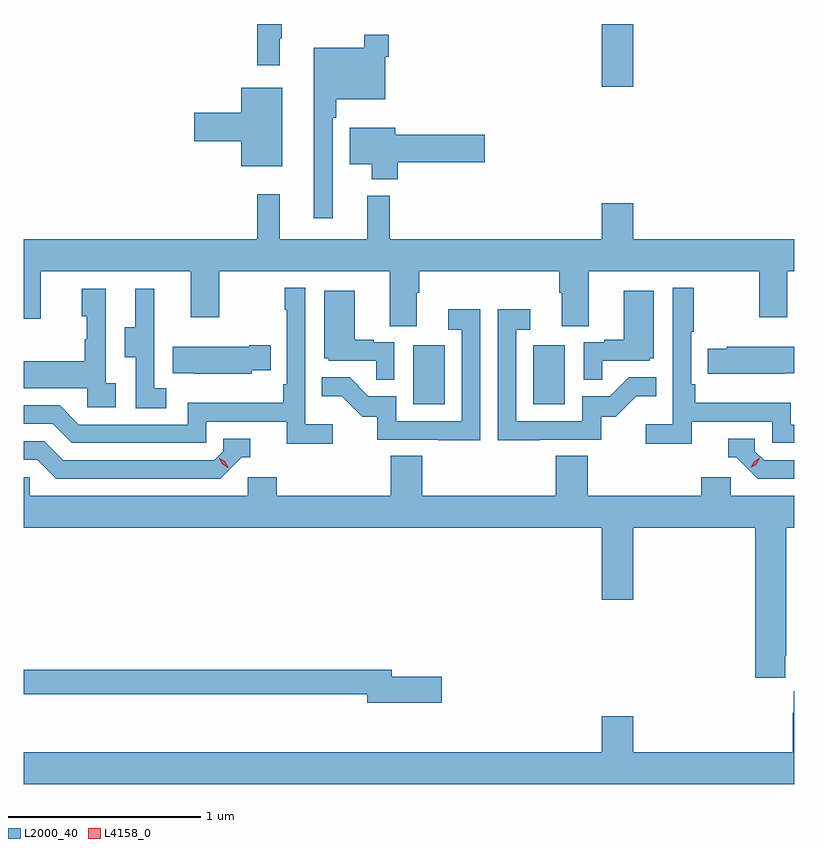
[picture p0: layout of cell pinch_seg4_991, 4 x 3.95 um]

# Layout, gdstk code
import gdstk
lib = gdstk.Library(unit=1e-6, precision=1e-09)
def R(c, l, rs):  # rectangles x0, y0, x1, y1
    for r in rs: c.add(gdstk.rectangle(r[:2], r[2:], *l))
def P(c, l, *ps):  # polygons
    for p in ps: c.add(gdstk.Polygon(p, *l))
L2000_40 = (2000, 40)
L4158_0 = (4158, 0)

pinch_seg4_991 = lib.new_cell('pinch_seg4_991')
R(pinch_seg4_991, L2000_40, [(823.37,784.14,823.534,784.447), (823.994,784.14,824.158,784.447), (824.348,785.79,824.512,786.115)])
P(pinch_seg4_991, L2000_40, [(822.676,786.041),(822.688,786.041),(822.688,786.115),(822.559,786.115),(822.559,785.901),(822.676,785.901)],
  [(822.951,785.627),(822.971,785.627),(822.971,785.723),(823.224,785.723),(823.224,785.945),(823.244,785.945),(823.244,786.058),(823.116,786.058),(823.116,785.992),(822.854,785.992),(822.854,785.106),(822.951,785.106)],
  [(822.691,785.785),(822.476,785.785),(822.476,785.654),(822.234,785.654),(822.234,785.507),(822.476,785.507),(822.476,785.375),(822.691,785.375)],
  [(823.289,785.398),(823.741,785.398),(823.741,785.54),(823.276,785.54),(823.276,785.575),(823.04,785.575),(823.04,785.387),(823.154,785.387),(823.154,785.309),(823.289,785.309)],
  [(823.387,784.72),(823.4,784.72),(823.4,784.832),(824.129,784.832),(824.129,784.72),(824.141,784.72),(824.141,784.546),(824.281,784.546),(824.281,784.832),(825.166,784.832),(825.166,784.593),(825.313,784.593),(825.313,784.832),(825.348,784.832),(825.348,784.996),(824.512,784.996),(824.512,785.185),(824.348,785.185),(824.348,784.996),(823.247,784.996),(823.247,785.224),(823.13,785.224),(823.13,784.996),(822.677,784.996),(822.677,785.23),(822.559,785.23),(822.559,784.996),(821.348,784.996),(821.348,784.584),(821.435,784.584),(821.435,784.832),(822.215,784.832),(822.215,784.593),(822.363,784.593),(822.363,784.832),(823.247,784.832),(823.247,784.546),(823.387,784.546)],
  [(824.816,784.05),(825.234,784.05),(825.234,783.939),(825.348,783.939),(825.348,784.035),(825.33,784.035),(825.33,784.147),(824.834,784.147),(824.834,784.243),(824.814,784.243),(824.814,784.516),(824.827,784.516),(824.827,784.744),(824.718,784.744),(824.718,784.036),(824.577,784.036),(824.577,783.934),(824.816,783.934)],
  [(822.952,784.036),(822.81,784.036),(822.81,784.744),(822.702,784.744),(822.702,784.631),(822.714,784.631),(822.714,784.243),(822.694,784.243),(822.694,784.147),(822.198,784.147),(822.198,784.035),(821.634,784.035),(821.535,784.134),(821.348,784.134),(821.348,784.038),(821.498,784.038),(821.597,783.939),(822.294,783.939),(822.294,784.05),(822.713,784.05),(822.713,783.934),(822.952,783.934)],
  [(822.088,784.223),(822.024,784.223),(822.024,784.527),(822.026,784.527),(822.026,784.741),(821.927,784.741),(821.927,784.539),(821.873,784.539),(821.873,784.384),(821.928,784.384),(821.928,784.12),(822.088,784.12)],
  [(821.824,784.25),(821.772,784.25),(821.772,784.741),(821.648,784.741),(821.648,784.596),(821.674,784.596),(821.674,784.478),(821.664,784.478),(821.664,784.363),(821.348,784.363),(821.348,784.223),(821.676,784.223),(821.676,784.125),(821.824,784.125)],
  [(824.351,784.365),(824.598,784.365),(824.598,784.38),(824.62,784.38),(824.62,784.729),(824.462,784.729),(824.462,784.474),(824.363,784.474),(824.363,784.461),(824.256,784.461),(824.256,784.267),(824.351,784.267)],
  [(823.272,784.461),(823.166,784.461),(823.166,784.474),(823.066,784.474),(823.066,784.729),(822.908,784.729),(822.908,784.38),(822.93,784.38),(822.93,784.365),(823.177,784.365),(823.177,784.267),(823.272,784.267)],
  [(823.719,784.633),(823.551,784.633),(823.551,784.527),(823.623,784.527),(823.623,784.053),(823.281,784.053),(823.281,784.182),(823.137,784.182),(823.039,784.28),(822.895,784.28),(822.895,784.181),(822.999,784.181),(823.106,784.074),(823.183,784.074),(823.183,783.957),(823.501,783.957),(823.501,783.952),(823.719,783.952)],
  [(824.027,783.957),(824.346,783.957),(824.346,784.074),(824.422,784.074),(824.529,784.181),(824.633,784.181),(824.633,784.28),(824.489,784.28),(824.391,784.182),(824.247,784.182),(824.247,784.053),(823.905,784.053),(823.905,784.527),(823.978,784.527),(823.978,784.633),(823.809,784.633),(823.809,783.952),(824.027,783.952)],
  [(822.531,784.316),(822.629,784.316),(822.629,784.446),(822.518,784.446),(822.518,784.438),(822.121,784.438),(822.121,784.301),(822.229,784.301),(822.229,784.298),(822.531,784.298)],
  [(825.299,784.301),(825.348,784.301),(825.348,784.438),(824.997,784.438),(824.997,784.428),(824.899,784.428),(824.899,784.298),(825.299,784.298)],
  [(825.348,783.849),(825.192,783.849),(825.144,783.897),(825.144,783.96),(825.005,783.96),(825.005,783.864),(825.048,783.864),(825.159,783.753),(825.348,783.753)],
  [(822.48,783.864),(822.523,783.864),(822.523,783.96),(822.384,783.96),(822.384,783.897),(822.336,783.849),(821.553,783.849),(821.454,783.948),(821.348,783.948),(821.348,783.852),(821.417,783.852),(821.516,783.753),(822.369,783.753)],
  [(825.301,782.833),(825.306,782.833),(825.306,783.5),(825.348,783.5),(825.348,783.664),(825.018,783.664),(825.018,783.762),(824.867,783.762),(824.867,783.664),(824.276,783.664),(824.276,783.872),(824.111,783.872),(824.111,783.664),(823.418,783.664),(823.418,783.872),(823.253,783.872),(823.253,783.664),(822.662,783.664),(822.662,783.762),(822.51,783.762),(822.51,783.664),(821.379,783.664),(821.379,783.762),(821.348,783.762),(821.348,783.5),(824.348,783.5),(824.348,783.126),(824.512,783.126),(824.512,783.5),(825.146,783.5),(825.146,782.721),(825.301,782.721)],
  [(823.519,782.726),(823.258,782.726),(823.258,782.762),(821.348,782.762),(821.348,782.634),(823.13,782.634),(823.13,782.591),(823.519,782.591)],
  [(825.348,782.65),(825.347,782.65),(825.347,782.537),(825.341,782.537),(825.341,782.332),(824.512,782.332),(824.512,782.521),(824.348,782.521),(824.348,782.332),(821.348,782.332),(821.348,782.168),(825.348,782.168)])
P(pinch_seg4_991, L4158_0, [(822.407,783.811),(822.376,783.83),(822.36,783.863),(822.36,783.863),(822.36,783.863),(822.391,783.844),(822.408,783.812),(822.408,783.811)],
  [(825.122,783.81),(825.122,783.81),(825.138,783.842),(825.169,783.862),(825.169,783.862),(825.169,783.861),(825.153,783.829),(825.122,783.81)])

lib.write_gds('pinch_seg4_991.gds')
